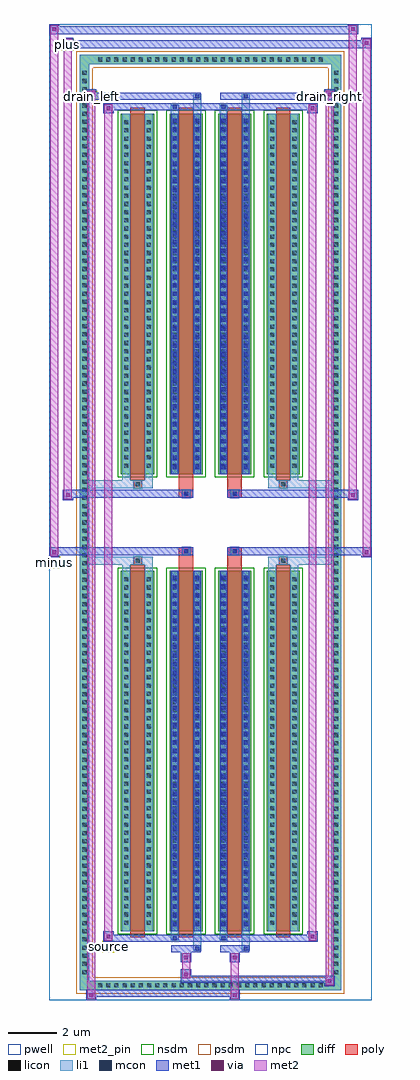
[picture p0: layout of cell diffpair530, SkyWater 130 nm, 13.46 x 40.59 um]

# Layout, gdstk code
import gdstk
lib = gdstk.Library(unit=1e-6, precision=5e-09)
def R(c, l, rs):  # rectangles x0, y0, x1, y1
    for r in rs: c.add(gdstk.rectangle(r[:2], r[2:], *l))
def A(c, l, x, y, w, h, nx, ny, dx, dy):  # array of equal rectangles
    R(c, l, [(x+i*dx, y+j*dy, x+i*dx+w, y+j*dy+h) for i in range(nx) for j in range(ny)])
def P(c, l, *ps):  # polygons
    for p in ps: c.add(gdstk.Polygon(p, *l))
pwell = (64, 44)
diff = (65, 20)
poly = (66, 20)
licon = (66, 44)
li1 = (67, 20)
mcon = (67, 44)
met1 = (68, 20)
via = (68, 44)
met2_pin = (69, 16)
met2 = (69, 20)
nsdm = (93, 44)
psdm = (94, 20)
npc = (95, 20)

diffpair530 = lib.new_cell('diffpair530')
R(diffpair530, pwell, [(-6.71,-19.86,6.71,20.73), (-4.03,-18.05,-0.01,-0.825), (0.01,-18.05,4.03,-0.825), (-4.03,0.825,-0.01,18.05), (0.01,0.825,4.03,18.05)])
A(diffpair530, diff, -4.795, -19.46, 0.41, 0.41, 28, 2, 0.34, 38.51)
A(diffpair530, diff, -5.44, -18.905, 0.41, 0.41, 1, 111, 0, 0.34)
A(diffpair530, diff, 5.03, -18.905, 0.41, 0.41, 1, 111, 0, 0.34)
A(diffpair530, diff, -3.72, -17.005, 1.38, 15, 4, 2, 2.02, 19.01)
R(diffpair530, diff, [(-4.795,-19.46,4.795,-19.05), (-5.44,-18.905,-5.03,18.905), (5.03,-18.905,5.44,18.905), (-4.795,19.05,4.795,19.46)])
P(diffpair530, diff, [(5.44,19.46),(-5.44,19.46),(-5.44,-19.05),(-5.03,-19.05),(-5.03,19.05),(5.03,19.05),(5.03,-19.05),(-5.03,-19.05),(-5.44,-19.05),(-5.44,-19.46),(5.44,-19.46)])
A(diffpair530, poly, -3.33, -17.255, 0.6, 15.5, 4, 2, 2.02, 19.01)
R(diffpair530, poly, [(-3.195,-1.755,-2.865,-1.425), (-3.195,-1.755,-2.865,-1.425), (-1.31,-1.755,-0.71,-1.355), (0.71,-1.755,1.31,-1.355), (2.865,-1.755,3.195,-1.425), (2.865,-1.755,3.195,-1.425), (-1.31,-1.355,-0.71,-1.025), (-1.175,-1.355,-0.845,-1.025), (0.71,-1.355,1.31,-1.025), (0.845,-1.355,1.175,-1.025), (-1.31,1.025,-0.71,1.355), (-1.175,1.025,-0.845,1.355), (0.71,1.025,1.31,1.355), (0.845,1.025,1.175,1.355), (-1.31,1.355,-0.71,1.755), (0.71,1.355,1.31,1.755), (-3.195,1.425,-2.865,1.755), (-3.195,1.425,-2.865,1.755), (2.865,1.425,3.195,1.755), (2.865,1.425,3.195,1.755)])
A(diffpair530, licon, -4.675, -19.34, 0.17, 0.17, 28, 2, 0.34, 38.51)
A(diffpair530, licon, -5.32, -18.785, 0.17, 0.17, 1, 111, 0, 0.34)
A(diffpair530, licon, 5.15, -18.785, 0.17, 0.17, 1, 111, 0, 0.34)
A(diffpair530, licon, -3.58, -16.73, 0.17, 0.17, 1, 43, 0, 0.34)
A(diffpair530, licon, -2.65, -16.73, 0.17, 0.17, 1, 43, 0, 0.34)
A(diffpair530, licon, -1.56, -16.73, 0.17, 0.17, 1, 43, 0, 0.34)
A(diffpair530, licon, -0.63, -16.73, 0.17, 0.17, 1, 43, 0, 0.34)
A(diffpair530, licon, 0.46, -16.73, 0.17, 0.17, 1, 43, 0, 0.34)
A(diffpair530, licon, 1.39, -16.73, 0.17, 0.17, 1, 43, 0, 0.34)
A(diffpair530, licon, 2.48, -16.73, 0.17, 0.17, 1, 43, 0, 0.34)
A(diffpair530, licon, 3.41, -16.73, 0.17, 0.17, 1, 43, 0, 0.34)
A(diffpair530, licon, -3.58, 2.28, 0.17, 0.17, 1, 43, 0, 0.34)
A(diffpair530, licon, -2.65, 2.28, 0.17, 0.17, 1, 43, 0, 0.34)
A(diffpair530, licon, -1.56, 2.28, 0.17, 0.17, 1, 43, 0, 0.34)
A(diffpair530, licon, -0.63, 2.28, 0.17, 0.17, 1, 43, 0, 0.34)
A(diffpair530, licon, 0.46, 2.28, 0.17, 0.17, 1, 43, 0, 0.34)
A(diffpair530, licon, 1.39, 2.28, 0.17, 0.17, 1, 43, 0, 0.34)
A(diffpair530, licon, 2.48, 2.28, 0.17, 0.17, 1, 43, 0, 0.34)
A(diffpair530, licon, 3.41, 2.28, 0.17, 0.17, 1, 43, 0, 0.34)
R(diffpair530, licon, [(-3.115,-1.675,-2.945,-1.505), (2.945,-1.675,3.115,-1.505), (-1.095,-1.275,-0.925,-1.105), (0.925,-1.275,1.095,-1.105), (-1.095,1.105,-0.925,1.275), (0.925,1.105,1.095,1.275), (-3.115,1.505,-2.945,1.675), (2.945,1.505,3.115,1.675)])
A(diffpair530, li1, -4.755, -19.42, 0.33, 0.33, 28, 2, 0.34, 38.51)
A(diffpair530, li1, -5.4, -18.865, 0.33, 0.33, 1, 111, 0, 0.34)
A(diffpair530, li1, 5.07, -18.865, 0.33, 0.33, 1, 111, 0, 0.34)
A(diffpair530, li1, -3.66, -16.81, 0.33, 0.33, 1, 43, 0, 0.34)
A(diffpair530, li1, -2.73, -16.81, 0.33, 0.33, 1, 43, 0, 0.34)
A(diffpair530, li1, -1.64, -16.81, 0.33, 0.33, 1, 43, 0, 0.34)
A(diffpair530, li1, -0.71, -16.81, 0.33, 0.33, 1, 43, 0, 0.34)
A(diffpair530, li1, 0.38, -16.81, 0.33, 0.33, 1, 43, 0, 0.34)
A(diffpair530, li1, 1.31, -16.81, 0.33, 0.33, 1, 43, 0, 0.34)
A(diffpair530, li1, 2.4, -16.81, 0.33, 0.33, 1, 43, 0, 0.34)
A(diffpair530, li1, 3.33, -16.81, 0.33, 0.33, 1, 43, 0, 0.34)
A(diffpair530, li1, -1.56, -16.79, 0.17, 0.17, 1, 41, 0, 0.36)
A(diffpair530, li1, -0.63, -16.79, 0.17, 0.17, 1, 41, 0, 0.36)
A(diffpair530, li1, 0.46, -16.79, 0.17, 0.17, 1, 41, 0, 0.36)
A(diffpair530, li1, 1.39, -16.79, 0.17, 0.17, 1, 41, 0, 0.36)
A(diffpair530, li1, -3.66, 2.2, 0.33, 0.33, 1, 43, 0, 0.34)
A(diffpair530, li1, -2.73, 2.2, 0.33, 0.33, 1, 43, 0, 0.34)
A(diffpair530, li1, -1.64, 2.2, 0.33, 0.33, 1, 43, 0, 0.34)
A(diffpair530, li1, -0.71, 2.2, 0.33, 0.33, 1, 43, 0, 0.34)
A(diffpair530, li1, 0.38, 2.2, 0.33, 0.33, 1, 43, 0, 0.34)
A(diffpair530, li1, 1.31, 2.2, 0.33, 0.33, 1, 43, 0, 0.34)
A(diffpair530, li1, 2.4, 2.2, 0.33, 0.33, 1, 43, 0, 0.34)
A(diffpair530, li1, 3.33, 2.2, 0.33, 0.33, 1, 43, 0, 0.34)
A(diffpair530, li1, -1.56, 2.22, 0.17, 0.17, 1, 41, 0, 0.36)
A(diffpair530, li1, -0.63, 2.22, 0.17, 0.17, 1, 41, 0, 0.36)
A(diffpair530, li1, 0.46, 2.22, 0.17, 0.17, 1, 41, 0, 0.36)
A(diffpair530, li1, 1.39, 2.22, 0.17, 0.17, 1, 41, 0, 0.36)
R(diffpair530, li1, [(-5.44,-19.46,-5.03,-19.05), (-5.44,-19.46,-5.03,-19.05), (-5.03,-19.46,5.03,-19.05), (5.03,-19.46,5.44,-19.05), (5.03,-19.46,5.44,-19.05), (-5.44,-19.05,-5.03,19.05), (5.03,-19.05,5.44,19.05), (-0.71,-17.81,-0.38,-17.005), (-0.63,-17.81,-0.46,-17.64), (1.31,-17.81,1.64,-17.005), (1.39,-17.81,1.56,-17.64), (-1.64,-17.38,-1.31,-17.005), (-1.56,-17.38,-1.39,-17.21), (0.38,-17.38,0.71,-17.005), (0.46,-17.38,0.63,-17.21), (-3.66,-17.005,-3.33,-2.005), (-2.73,-17.005,-2.4,-2.005), (-1.64,-17.005,-1.31,-2.005), (-0.71,-17.005,-0.38,-2.005), (0.38,-17.005,0.71,-2.005), (1.31,-17.005,1.64,-2.005), (2.4,-17.005,2.73,-2.005), (3.33,-17.005,3.66,-2.005), (-1.56,-16.79,-1.39,-2.22), (-0.63,-16.79,-0.46,-2.22), (0.46,-16.79,0.63,-2.22), (1.39,-16.79,1.56,-2.22), (-3.66,-2.005,-3.33,-1.425), (-2.73,-2.005,-2.4,-1.425), (2.4,-2.005,2.73,-1.425), (3.33,-2.005,3.66,-1.425), (-5.44,-1.755,-3.195,-1.425), (-3.66,-1.755,-3.195,-1.425), (-3.195,-1.755,-2.865,-1.425), (-2.865,-1.755,-2.4,-1.425), (2.4,-1.755,2.865,-1.425), (2.865,-1.755,3.195,-1.425), (2.865,-1.755,5.44,-1.425), (3.195,-1.755,3.66,-1.425), (-1.175,-1.355,-0.845,-1.025), (0.845,-1.355,1.175,-1.025), (-1.175,1.025,-0.845,1.355), (0.845,1.025,1.175,1.355), (-5.44,1.425,-3.195,1.755), (-3.66,1.425,-3.195,1.755), (-3.66,1.425,-3.33,2.005), (-3.195,1.425,-2.865,1.755), (-2.865,1.425,-2.4,1.755), (-2.73,1.425,-2.4,2.005), (2.4,1.425,2.865,1.755), (2.4,1.425,2.73,2.005), (2.865,1.425,3.195,1.755), (2.865,1.425,5.44,1.755), (3.195,1.425,3.66,1.755), (3.33,1.425,3.66,2.005), (-3.66,2.005,-3.33,17.005), (-2.73,2.005,-2.4,17.005), (-1.64,2.005,-1.31,17.005), (-0.71,2.005,-0.38,17.005), (0.38,2.005,0.71,17.005), (1.31,2.005,1.64,17.005), (2.4,2.005,2.73,17.005), (3.33,2.005,3.66,17.005), (-1.56,2.22,-1.39,16.79), (-0.63,2.22,-0.46,16.79), (0.46,2.22,0.63,16.79), (1.39,2.22,1.56,16.79), (-1.64,17.005,-1.31,17.38), (-0.71,17.005,-0.38,17.81), (0.38,17.005,0.71,17.38), (1.31,17.005,1.64,17.81), (-1.56,17.21,-1.39,17.38), (0.46,17.21,0.63,17.38), (-0.63,17.64,-0.46,17.81), (1.39,17.64,1.56,17.81), (-5.44,19.05,-5.03,19.46), (-5.44,19.05,-5.03,19.46), (-5.03,19.05,5.03,19.46), (5.03,19.05,5.44,19.46), (5.03,19.05,5.44,19.46)])
A(diffpair530, mcon, -1.56, -16.79, 0.17, 0.17, 1, 41, 0, 0.36)
A(diffpair530, mcon, -0.63, -16.79, 0.17, 0.17, 1, 41, 0, 0.36)
A(diffpair530, mcon, 0.46, -16.79, 0.17, 0.17, 1, 41, 0, 0.36)
A(diffpair530, mcon, 1.39, -16.79, 0.17, 0.17, 1, 41, 0, 0.36)
A(diffpair530, mcon, -1.56, 2.22, 0.17, 0.17, 1, 41, 0, 0.36)
A(diffpair530, mcon, -0.63, 2.22, 0.17, 0.17, 1, 41, 0, 0.36)
A(diffpair530, mcon, 0.46, 2.22, 0.17, 0.17, 1, 41, 0, 0.36)
A(diffpair530, mcon, 1.39, 2.22, 0.17, 0.17, 1, 41, 0, 0.36)
R(diffpair530, mcon, [(-0.63,-17.81,-0.46,-17.64), (1.39,-17.81,1.56,-17.64), (-1.56,-17.38,-1.39,-17.21), (0.46,-17.38,0.63,-17.21), (-1.095,-1.275,-0.925,-1.105), (0.925,-1.275,1.095,-1.105), (-1.095,1.105,-0.925,1.275), (0.925,1.105,1.095,1.275), (-1.56,17.21,-1.39,17.38), (0.46,17.21,0.63,17.38), (-0.63,17.64,-0.46,17.81), (1.39,17.64,1.56,17.81)])
A(diffpair530, met1, -1.62, -16.85, 0.29, 0.29, 1, 41, 0, 0.36)
A(diffpair530, met1, -0.69, -16.85, 0.29, 0.29, 1, 41, 0, 0.36)
A(diffpair530, met1, 0.4, -16.85, 0.29, 0.29, 1, 41, 0, 0.36)
A(diffpair530, met1, 1.33, -16.85, 0.29, 0.29, 1, 41, 0, 0.36)
A(diffpair530, met1, -1.62, 2.16, 0.29, 0.29, 1, 41, 0, 0.36)
A(diffpair530, met1, -0.69, 2.16, 0.29, 0.29, 1, 41, 0, 0.36)
A(diffpair530, met1, 0.4, 2.16, 0.29, 0.29, 1, 41, 0, 0.36)
A(diffpair530, met1, 1.33, 2.16, 0.29, 0.29, 1, 41, 0, 0.36)
R(diffpair530, met1, [(-5.17,-19.86,-4.74,-19.43), (0.795,-19.86,1.225,-19.43), (-5.17,-19.72,1.225,-19.43), (4.74,-19.29,5.17,-18.86), (-1.225,-19.15,5.17,-18.86), (-1.225,-19.01,-0.795,-18.58), (-1.225,-18.3,-0.795,-17.87), (0.795,-18.3,1.225,-17.87), (-1.62,-17.87,-0.4,-17.58), (-0.69,-17.87,-0.4,-17.58), (0.4,-17.87,1.62,-17.58), (1.33,-17.87,1.62,-17.58), (-4.46,-17.44,-4.03,-17.01), (-4.46,-17.44,-1.62,-17.15), (-1.62,-17.44,-1.33,-17.15), (-1.62,-17.44,-0.4,-17.15), (-0.4,-17.44,0.4,-17.15), (0.4,-17.44,0.69,-17.15), (0.4,-17.44,1.62,-17.15), (1.62,-17.44,4.46,-17.15), (4.03,-17.44,4.46,-17.01), (-1.62,-17.005,-1.33,-2.005), (-0.69,-17.005,-0.4,-2.005), (0.4,-17.005,0.69,-2.005), (1.33,-17.005,1.62,-2.005), (-6.71,-1.455,-6.28,-1.025), (6.28,-1.455,6.71,-1.025), (-6.71,-1.355,-0.71,-1.025), (-1.31,-1.355,-0.71,-1.025), (0.71,-1.355,1.31,-1.025), (0.71,-1.355,6.71,-1.025), (-1.155,-1.335,-0.865,-1.045), (0.865,-1.335,1.155,-1.045), (-6.14,0.925,-5.71,1.355), (5.71,0.925,6.14,1.355), (-6.14,1.025,-1.31,1.355), (-1.31,1.025,-0.71,1.355), (0.71,1.025,1.31,1.355), (1.31,1.025,6.14,1.355), (-1.155,1.045,-0.865,1.335), (0.865,1.045,1.155,1.335), (-1.62,2.005,-1.33,17.005), (-0.69,2.005,-0.4,17.005), (0.4,2.005,0.69,17.005), (1.33,2.005,1.62,17.005), (-4.46,17.01,-4.03,17.44), (4.03,17.01,4.46,17.44), (-4.46,17.15,-1.62,17.44), (-1.62,17.15,-1.33,17.44), (-1.62,17.15,-0.4,17.44), (-0.4,17.15,0.4,17.44), (0.4,17.15,0.69,17.44), (0.4,17.15,1.62,17.44), (1.62,17.15,4.46,17.44), (-5.17,17.58,-4.74,18.01), (-5.17,17.58,-1.62,17.87), (-1.62,17.58,-0.4,17.87), (-0.69,17.58,-0.4,17.87), (0.4,17.58,1.62,17.87), (1.33,17.58,1.62,17.87), (1.62,17.58,5.17,17.87), (4.74,17.58,5.17,18.01), (-6.14,19.73,-5.71,20.16), (-6.14,19.73,-4.03,20.06), (-4.03,19.73,4.03,20.06), (4.03,19.73,6.71,20.06), (6.28,19.73,6.71,20.16), (-6.71,20.3,-6.28,20.73), (-6.71,20.3,-4.03,20.63), (-4.03,20.3,4.03,20.63), (4.03,20.3,6.14,20.63), (5.71,20.3,6.14,20.73)])
R(diffpair530, via, [(-5.03,-19.72,-4.88,-19.57), (0.935,-19.72,1.085,-19.57), (4.88,-19.15,5.03,-19), (-1.085,-18.87,-0.935,-18.72), (-1.085,-18.16,-0.935,-18.01), (0.935,-18.16,1.085,-18.01), (-4.32,-17.3,-4.17,-17.15), (4.17,-17.3,4.32,-17.15), (-6.57,-1.315,-6.42,-1.165), (6.42,-1.315,6.57,-1.165), (-6,1.065,-5.85,1.215), (5.85,1.065,6,1.215), (-4.32,17.15,-4.17,17.3), (4.17,17.15,4.32,17.3), (-5.03,17.72,-4.88,17.87), (4.88,17.72,5.03,17.87), (-6,19.87,-5.85,20.02), (6.42,19.87,6.57,20.02), (-6.57,20.44,-6.42,20.59), (5.85,20.44,6,20.59)])
R(diffpair530, met2_pin, [(-4.495,-17.89,-3.995,-17.39), (-6.745,-1.905,-6.245,-1.405), (-5.205,17.46,-4.705,17.96), (4.705,17.46,5.205,17.96), (-6.175,19.61,-5.675,20.11)])
R(diffpair530, met2, [(-5.12,-19.81,-4.79,-19.48), (-5.12,-19.81,-4.79,17.96), (0.845,-19.81,1.175,-19.48), (0.845,-19.48,1.175,-18.25), (4.79,-19.24,5.12,-18.91), (4.79,-19.24,5.12,17.96), (-1.175,-18.96,-0.845,-18.63), (-1.175,-18.63,-0.845,-18.25), (-1.175,-18.25,-0.845,-17.92), (0.845,-18.25,1.175,-17.92), (-4.41,-17.39,-4.08,-17.06), (-4.41,-17.39,-4.08,17.39), (4.08,-17.39,4.41,-17.06), (4.08,-17.39,4.41,17.39), (-6.66,-1.405,-6.33,-1.075), (-6.66,-1.405,-6.33,20.68), (6.33,-1.405,6.66,-1.075), (6.33,-1.405,6.66,20.11), (-6.09,0.975,-5.76,1.305), (-6.09,0.975,-5.76,20.11), (5.76,0.975,6.09,1.305), (5.76,0.975,6.09,20.68), (-4.41,17.06,-4.08,17.39), (4.08,17.06,4.41,17.39), (-5.12,17.63,-4.79,17.96), (4.79,17.63,5.12,17.96), (-6.09,19.78,-5.76,20.11), (6.33,19.78,6.66,20.11), (-6.66,20.35,-6.33,20.68), (5.76,20.35,6.09,20.68)])
P(diffpair530, met2, [(6.66,-1.405),(6.66,-1.405),(6.66,-1.075),(6.66,-1.075)],
  [(6.66,19.78),(6.66,19.78),(6.66,20.11),(6.66,20.11)],
  [(-6.33,-1.405),(-6.33,-1.405),(-6.33,-1.075),(-6.33,-1.075)],
  [(-6.33,20.35),(-6.33,20.35),(-6.33,20.68),(-6.33,20.68)],
  [(6.09,0.975),(6.09,0.975),(6.09,1.305),(6.09,1.305)],
  [(6.09,20.35),(6.09,20.35),(6.09,20.68),(6.09,20.68)],
  [(-5.76,0.975),(-5.76,0.975),(-5.76,1.305),(-5.76,1.305)],
  [(-5.76,19.78),(-5.76,19.78),(-5.76,20.11),(-5.76,20.11)],
  [(-4.79,-19.81),(-4.79,-19.81),(-4.79,-19.48),(-4.79,-19.48)],
  [(-4.79,17.63),(-4.79,17.63),(-4.79,17.96),(-4.79,17.96)],
  [(5.12,-19.24),(5.12,-19.24),(5.12,-18.91),(5.12,-18.91)],
  [(5.12,17.63),(5.12,17.63),(5.12,17.96),(5.12,17.96)],
  [(-4.08,-17.39),(-4.08,-17.39),(-4.08,-17.06),(-4.08,-17.06)],
  [(-4.08,17.06),(-4.08,17.06),(-4.08,17.39),(-4.08,17.39)],
  [(4.41,-17.39),(4.41,-17.39),(4.41,-17.06),(4.41,-17.06)],
  [(4.41,17.06),(4.41,17.06),(4.41,17.39),(4.41,17.39)])
A(diffpair530, nsdm, -3.85, -17.135, 1.64, 15.26, 4, 2, 2.02, 19.01)
P(diffpair530, psdm, [(5.57,19.59),(-5.57,19.59),(-5.57,-18.92),(-4.9,-18.92),(-4.9,18.92),(4.9,18.92),(4.9,-18.92),(-4.9,-18.92),(-5.57,-18.92),(-5.57,-19.59),(5.57,-19.59)])
R(diffpair530, npc, [(-3.215,-1.775,-2.845,-1.405), (2.845,-1.775,3.215,-1.405), (-1.195,-1.375,-0.825,-1.005), (0.825,-1.375,1.195,-1.005), (-1.195,1.005,-0.825,1.375), (0.825,1.005,1.195,1.375), (-3.215,1.405,-2.845,1.775), (2.845,1.405,3.215,1.775)])
diffpair530.add(gdstk.Label('minus', (-6.495,-1.655), layer=69, texttype=5))
diffpair530.add(gdstk.Label('drain_right', (4.955,17.71), layer=69, texttype=5))
diffpair530.add(gdstk.Label('drain_left', (-4.955,17.71), layer=69, texttype=5))
diffpair530.add(gdstk.Label('source', (-4.245,-17.64), layer=69, texttype=5))
diffpair530.add(gdstk.Label('plus', (-5.925,19.86), layer=69, texttype=5))

lib.write_gds('diffpair530.gds')
